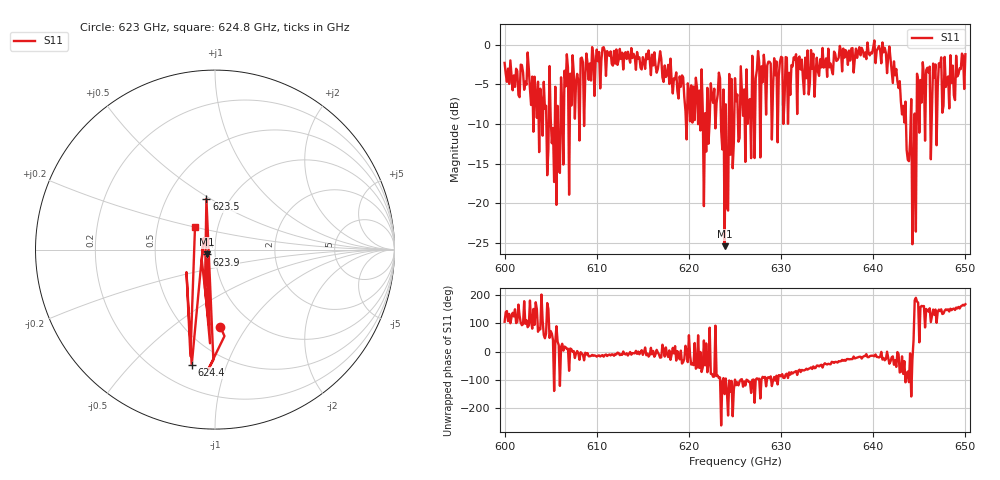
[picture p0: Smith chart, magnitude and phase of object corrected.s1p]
!Created with skrf (http://scikit-rf.org).
# GHz S MA R 50.0
!freq magS11 angS11
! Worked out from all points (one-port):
!   401 points, 600 GHz to 650 GHz, reference 50 ohm
!   lowest |S11| = -25.4 dB at 623.9 GHz (marker M1), VSWR 1.11, Z = 45.5 - j2.47 ohm
!   |S11| at or under -10 dB: 604.5329 GHz to 604.7876 GHz (254.7 MHz wide, 0.0421 % of centre); 605.0293 GHz to 605.4511 GHz (421.8 MHz wide, 0.0697 % of centre); 643.558 GHz to 644.0503 GHz (492.3 MHz wide, 0.0765 % of centre) (the widest 3 of 37)
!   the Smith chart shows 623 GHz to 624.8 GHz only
!   S11 on the Smith chart (normalised r, x): 623 GHz: 0.72, -0.76; 623.5 GHz: 0.78, +0.48; 623.9 GHz: 0.91, -0.05; 624.4 GHz: 0.34, -0.76; 624.8 GHz: 0.78, +0.20
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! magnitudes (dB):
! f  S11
! 600 GHz  -2.3
! 602.8 GHz  -5.6
! 605 GHz  -9.3
! 605.4 GHz  -17.3
! 606.2 GHz  -7.7
! 606.6 GHz  -5.2
! 612.5 GHz  -0.5
! 618.8 GHz  -5.9
! 621.1 GHz  -5.8
! 621.9 GHz  -13.5
! 622.2 GHz  -9.6
! 623 GHz  -7.3
! 623.5 GHz  -10.8
! 623.9 GHz  -25.4
! 624.4 GHz  -3.7
! 624.8 GHz  -15.6
! 625 GHz  -4.2
! 626.9 GHz  -1.4
! 628.4 GHz  -8.8
! 630.5 GHz  -1.5
! 631.2 GHz  -2.7
! 637.5 GHz  -2.0
! 641.5 GHz  -3.6
! 642.6 GHz  -4.6
! 643.8 GHz  -14.5
! 644.4 GHz  -16.0
! 645 GHz  -11.1
! 650 GHz  -1.2
